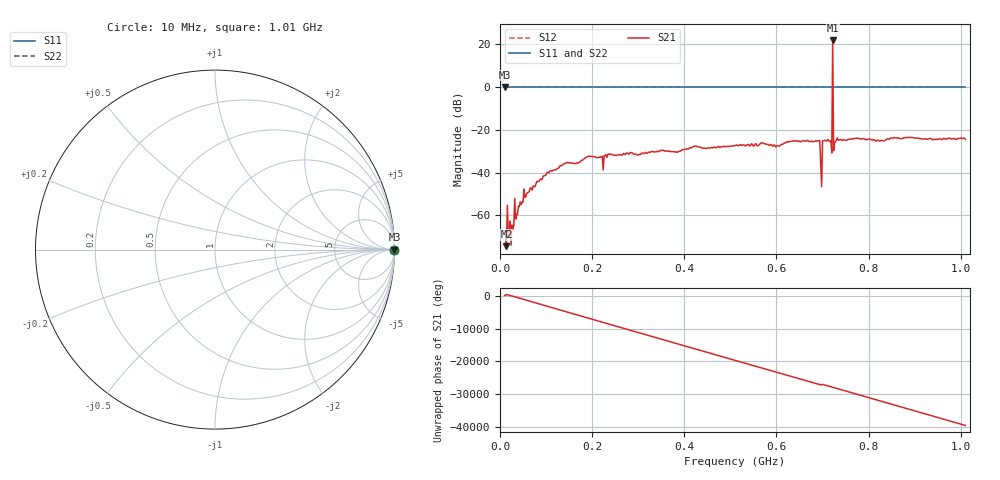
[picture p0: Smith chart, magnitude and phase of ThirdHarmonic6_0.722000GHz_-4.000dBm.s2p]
! 8/16/2025 12:08:12 AM
! C:\ANRITSUVNA\TEMP\TEMP.S2P
! CHANNEL.1
! TR.MEASUREMENT
! RAW.DATA
! RF.CORRECTION.OFF
! AVERAGING.OFF
! IF.BANDWIDTH: 5KHZ
! SWEEPTYPE:  FREQ.SWEEP(Linear)
! Reference Plane Port Info
! PORT:  PORT1  PORT2
! DISTANCE:  0  m  0  m
! TIME:  0  s  0  s
! PHASE.OFFSET:  0  deg.  0  deg.
! LOSS:  0  dB  0  dB
! REF.LOSS:  0  dB  0  dB
! REF.FREQ:  0  Hz  0  Hz
! Power Info
! POWER:  -20  dBm  -20  dBm
! EFF.POWER:  -20  dBm  -20  dBm
! SOURCE.ATTEN:  0  dB  0  dB
! TEST.ATTEN:  0  dB  0  dB
# GHZ S RI R 50.0
! FREQ.GHZ  S11RE  S11IM  S21RE  S21IM  S12RE  S12IM  S22RE  S22IM
!; PortSelection: Port_12
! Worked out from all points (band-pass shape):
!   501 points, 10 MHz to 1.01 GHz, reference 50 ohm
!   highest |S21| = 21.70 dB at 722 MHz (marker M1); lowest = -74.3 dB at 14 MHz (marker M2)
!   |S21| within 3 dB of the highest: 721.8857 MHz to 722.1167 MHz (230.9 kHz wide, 0.032 % of centre)
!   lowest |S11| = 0.0 dB at 10 MHz (marker M3)
!   |S11| at or under -10 dB: nowhere
!   |S22| runs from 0.0 to 0.0 dB; largest |S21 - S12| = 13
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0.01  1 0  0.000237 0.000334  1 0  1 0
0.014  1 0  -0.000133 -0.000139  1 0  1 0
0.024  1 0  -1.14e-05 -0.000202  1 0  1 0
0.036  1 0  -0.000757 -0.000756  1 0  1 0
0.048  1 0  0.000857 0.00184  1 0  1 0
0.084  1 0  0.00483 0.00399  1 0  1 0
0.142  1 0  -0.0153 -0.00608  1 0  1 0
0.178  1 0  -0.0191 -0.00406  1 0  1 0
0.344  1 0  0.0299 -0.00792  1 0  1 0
0.51  1 0  -0.0388 0.0178  1 0  1 0
0.678  1 0  -0.0285 -0.044  1 0  1 0
0.69  1 0  -0.0238 0.0505  1 0  1 0
0.694  1 0  0.0379 -0.0413  1 0  1 0
0.7  1 0  0.0179 0.0519  1 0  1 0
0.704  1 0  0.000579 -0.0559  1 0  1 0
0.716  1 0  -0.0449 0.0286  1 0  1 0
0.718  1 0  0.021 0.0515  1 0  1 0
0.722  1 0  -10.25 -6.532  1 0  1 0
0.726  1 0  -0.0151 0.0475  1 0  1 0
0.728  1 0  0.0459 0.0266  1 0  1 0
0.844  1 0  0.0473 0.0375  1 0  1 0
1.01  1 0  -0.0597 -0.00662  1 0  1 0
